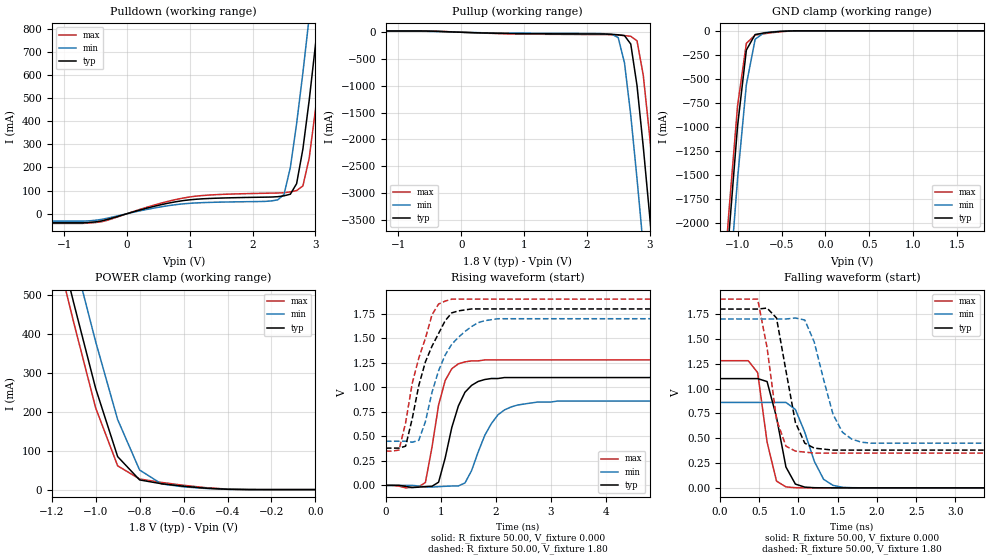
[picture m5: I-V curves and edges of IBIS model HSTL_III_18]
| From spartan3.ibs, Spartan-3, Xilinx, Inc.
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|   Model HSTL_III_18
[Model]   HSTL_III_18
Model_type   I/O
Polarity   Non-Inverting
Enable   Active-Low
Vinl =   1.00V
Vinh =   1.20V
Vmeas =   1.10V
Cref =  0.000F
Rref =  50.00
Vref =   1.80V
C_comp   6.38pF   4.60pF   8.23pF
[Temperature Range]   25.00   85.00   0.000
[Voltage Range]   1.80V   1.70V   1.90V
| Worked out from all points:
|   slope of the pulldown table from 0 to 0.27 V, typ, clamps not added: 13.1 ohm
|   slope of the pullup table from 0 to 0.27 V, typ, clamps not added: 26.1 ohm
|   GND clamp passes 1 mA (typ) near -0.38 V on its own axis
|   POWER clamp passes 1 mA (typ) near -0.41 V on its own axis
|   rising waveform, R_fixture 50.00, V_fixture 0.000: 20-80 % time 329ps typ, 423ps min, 262ps max; typ from 0 V to 1.1 V
|   rising waveform, R_fixture 50.00, V_fixture 1.80: 20-80 % time 455ps typ, 477ps min, 399ps max; typ from 0.38 V to 1.8 V
|   falling waveform, R_fixture 50.00, V_fixture 0.000: 20-80 % time 174ps typ, 251ps min, 159ps max; typ from 1.1 V to 0 V
|   falling waveform, R_fixture 50.00, V_fixture 1.80: 20-80 % time 195ps typ, 260ps min, 177ps max; typ from 1.8 V to 0.38 V
[Pulldown]
| voltage   I(typ)   I(min)   I(max)
-1.8V     -39.6mA    -32.24mA   -42.12mA
-500mV    -35.4mA    -28.42mA   -38.17mA
2.4V      73.52mA    59.98mA    89.43mA
2.5V      77.33mA    83.33mA    90.67mA
2.6V      84.25mA    200mA      94.36mA
2.7V      130mA      390mA      100mA
2.8V      280mA      610mA      120mA
2.9V      490mA      850mA      240mA
3V        730mA      1.09A      450mA
3.1V      970mA      1.34A      680mA
3.2V      1.22A      1.59A      930mA
3.6V      2.24A      2.62A      1.93A
[Pullup]
| voltage   I(typ)   I(min)   I(max)
-1.8V     24.56mA    18.72mA    27.81mA
-700mV    24.56mA    18.72mA    27.81mA
2.4V      -39.19mA   -38.11mA   -46.25mA
2.5V      -47.5mA    -100mA     -52.68mA
2.6V      -62.32mA   -570mA     -62.42mA
2.7V      -220mA     -1.55A     -75.3mA
2.8V      -1A        -2.74A     -160mA
2.9V      -2.15A     -4.01A     -810mA
3V        -3.41A     -5.33A     -1.93A
3.1V      -4.74A     -6.68A     -3.18A
3.2V      -6.09A     -8.04A     -4.51A
3.6V      -11.64A    -13.6A     -10.02A
[GND_clamp]
| voltage   I(typ)   I(min)   I(max)
-1.8V     -11.64A    -12.2A     -11.42A
-1.2V     -3.41A     -4.01A     -3.17A
-1.1V     -2.14A     -2.73A     -1.9A
-1V       -990mA     -1.54A     -780mA
-900mV    -200mA     -560mA     -130mA
-800mV    -38.28mA   -87.34mA   -44.15mA
-700mV    -22.51mA   -20.43mA   -30.18mA
-500mV    -5.32mA    -4.04mA    -8.92mA
-300mV    -110uA     -120uA     -320uA
1.8V      11.81nA    570nA      13.19nA
[POWER_clamp]
| voltage   I(typ)   I(min)   I(max)
-1.8V     2.23A      2.36A      2.19A
-1.2V     710mA      840mA      660mA
-1.1V     480mA      600mA      430mA
-1V       260mA      380mA      210mA
-900mV    84.79mA    180mA      61.18mA
-800mV    24.88mA    50.29mA    27.26mA
-700mV    15.03mA    14.55mA    18.43mA
-600mV    8.66mA     7.1mA      11.09mA
-400mV    790uA      730uA      1.23mA
0V        11.81nA    57.46nA    17.4nA
[Ramp]
| variable   typ   min   max
dV/dt_r   0.66/0.31n   0.51/0.42n   0.77/0.24n
dV/dt_f   0.85/0.19n   0.75/0.25n   0.93/0.15n
R_load = 50.00
[Rising Waveform]
R_fixture = 50.00
V_fixture = 0.000
| time   V(typ)   V(min)   V(max)
0s        0V         810nV      0V
720ps     -12.79mV   -16.56mV   29.08mV
960ps     32.35mV    -13.21mV   820mV
1.08ns    280mV      -9.44mV    1.07V
1.32ns    810mV      -5.54mV    1.24V
1.44ns    950mV      24.43mV    1.26V
1.68ns    1.06V      340mV      1.27V
1.92ns    1.09V      630mV      1.28V
2.28ns    1.1V       800mV      1.28V
6ns       1.1V       860mV      1.28V
[Rising Waveform]
R_fixture = 50.00
V_fixture = 1.80
V_fixture_min = 1.70
V_fixture_max = 1.90
| time   V(typ)   V(min)   V(max)
0s        380mV      450mV      350mV
240ps     380mV      450mV      360mV
360ps     400mV      450mV      640mV
480ps     680mV      440mV      1.04V
600ps     1.02V      460mV      1.3V
840ps     1.42V      950mV      1.74V
960ps     1.55V      1.17V      1.85V
1.2ns     1.76V      1.44V      1.9V
1.8ns     1.8V       1.68V      1.9V
6ns       1.8V       1.7V       1.9V
[Falling Waveform]
R_fixture = 50.00
V_fixture = 0.000
| time   V(typ)   V(min)   V(max)
0s        1.1V       860mV      1.28V
360ps     1.1V       860mV      1.28V
480ps     1.1V       860mV      1.16V
600ps     1.07V      860mV      460mV
720ps     710mV      860mV      68.05mV
840ps     210mV      860mV      9.72mV
960ps     38.14mV    790mV      1.68mV
1.2ns     1.6mV      270mV      44.66uV
1.44ns    84.57uV    25.19mV    3.64uV
6ns       1.37uV     2.68uV     1.23uV
[Falling Waveform]
R_fixture = 50.00
V_fixture = 1.80
V_fixture_min = 1.70
V_fixture_max = 1.90
| time   V(typ)   V(min)   V(max)
0s        1.8V       1.7V       1.9V
480ps     1.8V       1.7V       1.9V
600ps     1.81V      1.7V       1.41V
720ps     1.71V      1.7V       690mV
840ps     1.18V      1.7V       420mV
960ps     660mV      1.71V      370mV
1.08ns    450mV      1.69V      360mV
1.44ns    380mV      740mV      350mV
1.68ns    380mV      490mV      350mV
6ns       380mV      450mV      350mV
